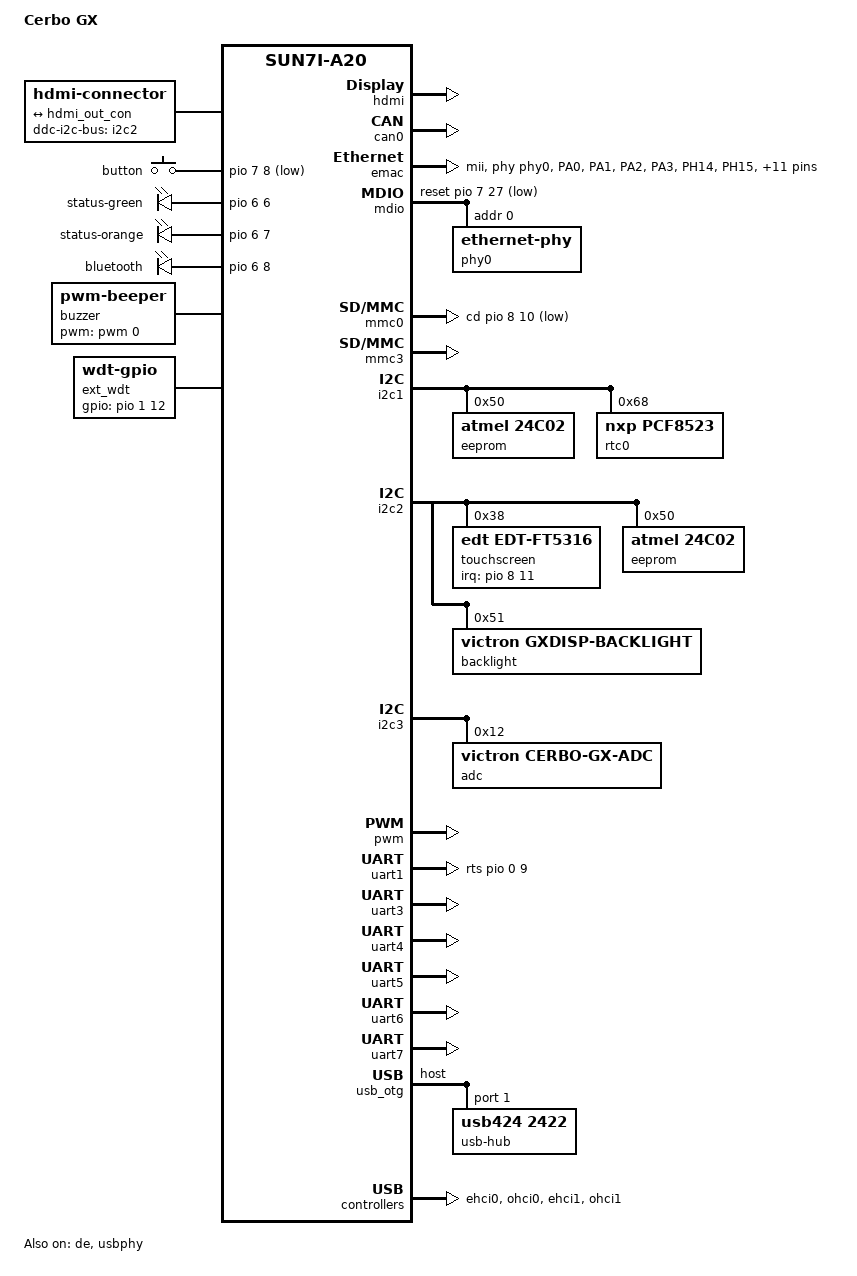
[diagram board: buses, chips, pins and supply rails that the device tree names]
/*
 * Copyright (C) 2018 Mans Rullgard <mans@mansr.com>
 *
 * This file is dual-licensed: you can use it either under the terms
 * of the GPL or the X11 license, at your option. Note that this dual
 * licensing only applies to this file, and not this project as a
 * whole.
 *
 *  a) This file is free software; you can redistribute it and/or
 *     modify it under the terms of the GNU General Public License as
 *     published by the Free Software Foundation; either version 2 of the
 *     License, or (at your option) any later version.
 *
 *     This file is distributed in the hope that it will be useful,
 *     but WITHOUT ANY WARRANTY; without even the implied warranty of
 *     MERCHANTABILITY or FITNESS FOR A PARTICULAR PURPOSE.  See the
 *     GNU General Public License for more details.
 *
 * Or, alternatively,
 *
 *  b) Permission is hereby granted, free of charge, to any person
 *     obtaining a copy of this software and associated documentation
 *     files (the "Software"), to deal in the Software without
 *     restriction, including without limitation the rights to use,
 *     copy, modify, merge, publish, distribute, sublicense, and/or
 *     sell copies of the Software, and to permit persons to whom the
 *     Software is furnished to do so, subject to the following
 *     conditions:
 *
 *     The above copyright notice and this permission notice shall be
 *     included in all copies or substantial portions of the Software.
 *
 *     THE SOFTWARE IS PROVIDED "AS IS", WITHOUT WARRANTY OF ANY KIND,
 *     EXPRESS OR IMPLIED, INCLUDING BUT NOT LIMITED TO THE WARRANTIES
 *     OF MERCHANTABILITY, FITNESS FOR A PARTICULAR PURPOSE AND
 *     NONINFRINGEMENT. IN NO EVENT SHALL THE AUTHORS OR COPYRIGHT
 *     HOLDERS BE LIABLE FOR ANY CLAIM, DAMAGES OR OTHER LIABILITY,
 *     WHETHER IN AN ACTION OF CONTRACT, TORT OR OTHERWISE, ARISING
 *     FROM, OUT OF OR IN CONNECTION WITH THE SOFTWARE OR THE USE OR
 *     OTHER DEALINGS IN THE SOFTWARE.
 */

/dts-v1/;

#include "sun7i-a20-einstein.dtsi"
#include <dt-bindings/input/input.h>

/ {
	model = "Cerbo GX";
	compatible = "victronenergy,cerbo-gx",
		     "cubietech,einstein",
		     "allwinner,sun7i-a20";

	aliases {
		ethernet0 = &emac;
		rtc0 = &rtc0;
		rtc1 = &rtc;
		watchdog0 = &ext_wdt;
		watchdog1 = &wdt;
	};

	hdmi-connector {
		compatible = "hdmi-connector";
		type = "a";
		ddc-i2c-bus = <&i2c2>;

		port {
			hdmi_con_in: endpoint {
				remote-endpoint = <&hdmi_out_con>;
			};
		};
	};

	button {
		compatible = "gpio-keys";

		button {
			linux,code = <KEY_CONFIG>;
			gpios = <&pio 7 8 GPIO_ACTIVE_LOW>; /* PH8 */
		};
	};

	leds {
		compatible = "gpio-leds";

		status-green {
			label = "status-green";
			gpios = <&pio 6 6 GPIO_ACTIVE_HIGH>; /* PG6 */
			default-state = "off";
		};

		status-orange {
			label = "status-orange";
			gpios = <&pio 6 7 GPIO_ACTIVE_HIGH>; /* PG7 */
			linux,default-trigger = "blink-slow";
		};

		bluetooth {
			label = "bluetooth";
			gpios = <&pio 6 8 GPIO_ACTIVE_HIGH>; /* PG8 */
			default-state = "off";
		};
	};

	buzzer {
		compatible = "pwm-beeper";
		pwms = <&pwm 0 1000000 0>;
	};

	ext_wdt: watchdog {
		compatible = "linux,wdt-gpio";
		gpios = <&pio 1 12 GPIO_ACTIVE_HIGH>; /* PB12 */
		hw_algo = "toggle";
		hw_margin_ms = <30000>;
		always-running;
	};
};

&reg_ldo3 {
	regulator-always-on;
};

&de {
	status = "okay";
};

&hdmi {
	status = "okay";
};

&hdmi_out {
	hdmi_out_con: endpoint {
		remote-endpoint = <&hdmi_con_in>;
	};
};

&can0 {
	pinctrl-names = "default";
	pinctrl-0 = <&can_pa_pins>;
	status = "okay";
};

&emac {
	pinctrl-names = "default";
	pinctrl-0 = <&emac_pa_ph_pins>;
	phy = <&phy0>;
	phy-mode = "mii";
	status = "okay";
};

&emac_sram {
	status = "okay";
};

&mdio {
	reset-gpios = <&pio 7 27 GPIO_ACTIVE_LOW>; /* PH27 */
	reset-delay-us = <100>;
	status = "okay";

	phy0: ethernet-phy@0 {
		reg = <0>;
	};
};

&mmc0 {
	cd-gpios = <&pio 8 10 GPIO_ACTIVE_LOW>; /* PI10 */
	status = "okay";
};

&mmc3 {
	status = "okay";
};

&i2c1 {
	status = "okay";

	eeprom@50 {
		compatible = "atmel,24c02";
		reg = <0x50>;
		pagesize = <16>;
		read-only;
	};

	rtc0: rtc@68 {
		compatible = "nxp,pcf8523";
		status = "okay";
		reg = <0x68>;
	};
};

&i2c2 {
	status = "okay";

	touchscreen@38 {
		compatible = "edt,edt-ft5316", "edt,edt-ft5306";
		reg = <0x38>;
		interrupt-parent = <&pio>;
		interrupts = <8 11 IRQ_TYPE_EDGE_FALLING>;
	};

	eeprom@50 {
		compatible = "atmel,24c02";
		reg = <0x50>;
		pagesize = <16>;
		read-only;
	};

	backlight@51 {
		compatible = "victron,gxdisp-backlight";
		reg = <0x51>;
		default-on;
		default-brightness = <15>;
	};
};

&i2c3 {
	status = "okay";

	adc@12 {
		compatible = "victron,cerbo-gx-adc";
		reg = <0x12>;
	};
};

&pwm {
	pinctrl-names = "default";
	pinctrl-0 = <&pwm0_pin>;
	status = "okay";
};

&uart1 {
	pinctrl-names = "default";
	pinctrl-0 = <&uart1_pa_pins>;
	rts-gpios = <&pio 0 9 GPIO_ACTIVE_HIGH>; /* PA9 */
	status = "okay";
};

&uart3 {
	pinctrl-names = "default";
	pinctrl-0 = <&uart3_ph_pins>, <&uart3_cts_rts_ph_pins>;
	uart-has-rtscts;
	status = "okay";
};

&uart4 {
	pinctrl-names = "default";
	pinctrl-0 = <&uart4_ph_pins>;
	status = "okay";
};

&uart5 {
	pinctrl-names = "default";
	pinctrl-0 = <&uart5_ph_pins>;
	status = "okay";
};

&uart6 {
	pinctrl-names = "default";
	pinctrl-0 = <&uart6_pa_pins>;
	status = "okay";
};

&uart7 {
	pinctrl-names = "default";
	pinctrl-0 = <&uart7_pa_pins>;
	status = "okay";
};

&usb_otg {
	dr_mode = "host";
	non-removable-ports = <1>;
	status = "okay";

	#address-cells = <1>;
	#size-cells = <0>;

	usb-hub@1 {
		compatible = "usb424,2422";
		reg = <1>;
		non-removable-ports = <1>;

		#address-cells = <1>;
		#size-cells = <0>;

		wireless-controller@1 {
			compatible = "usbbda,b720";
			reg = <1>;

			#address-cells = <2>;
			#size-cells = <0>;

			bluetooth@0 {
				compatible = "usbifbda,b720.config1.0";
				reg = <0 1>;
				status = "disabled";
			};

			bluetooth@1 {
				compatible = "usbifbda,b720.config1.1";
				reg = <1 1>;
				status = "disabled";
			};
		};
	};
};

&otg_sram {
	status = "okay";
};

&ehci0 {
	status = "okay";
};

&ohci0 {
	status = "okay";
};

&ehci1 {
	status = "okay";
};

&ohci1 {
	status = "okay";
};

&usbphy {
	usb0_vbus-supply = <&reg_usb0_vbus>;
	usb1_vbus-supply = <&reg_usb1_vbus>;
	usb2_vbus-supply = <&reg_usb2_vbus>;
	status = "okay";
};

&reg_usb0_vbus {
	gpio = <&pio 1 8 GPIO_ACTIVE_HIGH>; /* PB8 */
	status = "okay";
};

&reg_usb1_vbus {
	gpio = <&pio 8 2 GPIO_ACTIVE_HIGH>; /* PI2 */
	status = "okay";
};

&reg_usb2_vbus {
	gpio = <&pio 8 3 GPIO_ACTIVE_HIGH>; /* PI3 */
	status = "okay";
};

&pio {
	emac_pa_ph_pins: emac-pa-ph-pins {
		pins = "PA0", "PA1", "PA2", "PA3",
		       "PH14", "PH15", "PH16", "PH17",
		       "PA8", "PH19", "PH20", "PH21",
		       "PH22", "PH23", "PH24", "PH25",
		       "PH26";
		function = "emac";
	};
};
